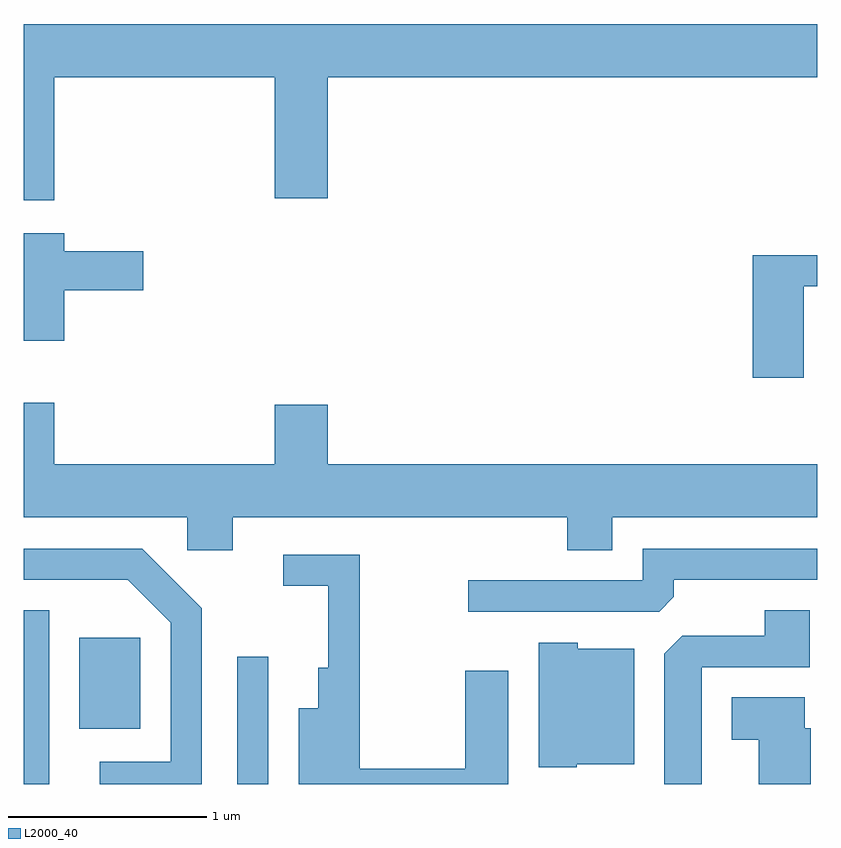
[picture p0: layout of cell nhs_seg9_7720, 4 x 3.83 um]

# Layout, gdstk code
import gdstk
lib = gdstk.Library(unit=1e-6, precision=1e-09)
def R(c, l, rs):  # rectangles x0, y0, x1, y1
    for r in rs: c.add(gdstk.rectangle(r[:2], r[2:], *l))
def P(c, l, *ps):  # polygons
    for p in ps: c.add(gdstk.Polygon(p, *l))
L2000_40 = (2000, 40)

nhs_seg9_7720 = lib.new_cell('nhs_seg9_7720')
R(nhs_seg9_7720, L2000_40, [(413.611,2030.432,413.739,2031.309), (414.686,2030.432,414.844,2031.073), (413.891,2030.711,414.199,2031.169)])
P(nhs_seg9_7720, L2000_40, [(413.764,2033.996),(414.876,2033.996),(414.876,2033.386),(415.144,2033.386),(415.144,2033.996),(417.611,2033.996),(417.611,2034.264),(413.611,2034.264),(413.611,2033.376),(413.764,2033.376)],
  [(413.814,2032.921),(414.214,2032.921),(414.214,2033.119),(413.814,2033.119),(413.814,2033.209),(413.611,2033.209),(413.611,2032.666),(413.814,2032.666)],
  [(417.544,2032.941),(417.611,2032.941),(417.611,2033.099),(417.286,2033.099),(417.286,2032.481),(417.544,2032.481)],
  [(414.664,2031.776),(416.351,2031.776),(416.351,2031.611),(416.579,2031.611),(416.579,2031.776),(417.611,2031.776),(417.611,2032.044),(415.144,2032.044),(415.144,2032.344),(414.876,2032.344),(414.876,2032.044),(413.764,2032.044),(413.764,2032.354),(413.611,2032.354),(413.611,2031.776),(414.436,2031.776),(414.436,2031.611),(414.664,2031.611)],
  [(416.889,2031.377),(416.889,2031.461),(417.611,2031.461),(417.611,2031.619),(416.731,2031.619),(416.731,2031.459),(415.853,2031.459),(415.853,2031.301),(416.814,2031.301)],
  [(414.509,2031.317),(414.207,2031.619),(413.611,2031.619),(413.611,2031.461),(414.134,2031.461),(414.351,2031.244),(414.351,2030.544),(413.993,2030.544),(413.993,2030.432),(414.509,2030.432)],
  [(416.054,2031.004),(415.836,2031.004),(415.836,2030.509),(415.304,2030.509),(415.304,2031.589),(414.918,2031.589),(414.918,2031.431),(415.146,2031.431),(415.146,2031.019),(415.096,2031.019),(415.096,2030.814),(414.996,2030.814),(414.996,2030.432),(416.054,2030.432)],
  [(417.029,2031.021),(417.574,2031.021),(417.574,2031.309),(417.346,2031.309),(417.346,2031.179),(416.932,2031.179),(416.841,2031.089),(416.841,2030.432),(417.029,2030.432)],
  [(416.4,2030.531),(416.689,2030.531),(416.689,2031.114),(416.404,2031.114),(416.404,2031.144),(416.206,2031.144),(416.206,2030.516),(416.4,2030.516)],
  [(417.579,2030.714),(417.549,2030.714),(417.549,2030.869),(417.181,2030.869),(417.181,2030.656),(417.316,2030.656),(417.316,2030.432),(417.579,2030.432)])

lib.write_gds('nhs_seg9_7720.gds')
